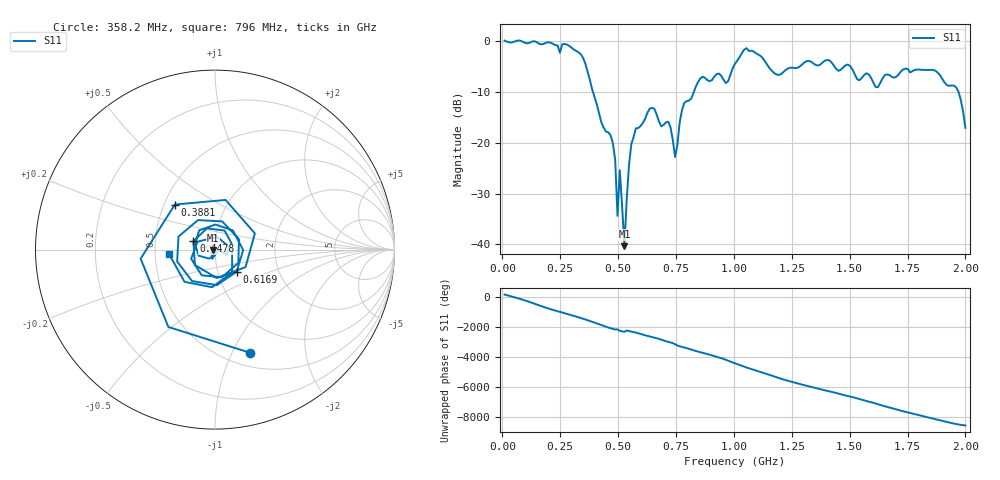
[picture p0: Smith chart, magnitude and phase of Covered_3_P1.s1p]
!Created with skrf (http://scikit-rf.org).
# Hz S RI R 50.0
!freq ReS11 ImS11
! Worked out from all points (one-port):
!   201 points, 10 MHz to 2 GHz, reference 50 ohm
!   lowest |S11| = -40.4 dB at 527.4 MHz (marker M1), VSWR 1.02, Z = 49.1 - j0.148 ohm
!   |S11| at or under -10 dB: 391.6 MHz to 827.1 MHz (435.5 MHz wide, 71.5 % of centre); 1.971 GHz to end of sweep
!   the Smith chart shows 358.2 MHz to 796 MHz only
!   S11 on the Smith chart (normalised r, x): 358.2 MHz: 0.65, -1.17; 388.1 MHz: 0.57, +0.32; 447.8 MHz: 0.78, +0.07; 617 MHz: 1.23, -0.31; 796 MHz: 0.59, -0.03
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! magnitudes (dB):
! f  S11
! 10 MHz  0.1
! 258.8 MHz  -0.6
! 358.2 MHz  -4.3
! 388.1 MHz  -9.5
! 447.8 MHz  -17.8
! 487.6 MHz  -23.3
! 497.6 MHz  -34.4
! 507.5 MHz  -25.4
! 527.4 MHz  -40.4
! 547.3 MHz  -24.4
! 557.2 MHz  -20.3
! 617 MHz  -15.3
! 656.8 MHz  -13.3
! 716.5 MHz  -15.8
! 746.3 MHz  -22.8
! 756.2 MHz  -20.4
! 776.1 MHz  -13.5
! 796 MHz  -11.8
! 975.1 MHz  -7.9
! 1.005 GHz  -4.4
! 1.055 GHz  -1.4
! 1.184 GHz  -6.5
! 1.254 GHz  -5.2
! 1.502 GHz  -4.9
! 1.622 GHz  -9.0
! 1.751 GHz  -5.4
! 1.96 GHz  -9.1
! 2 GHz  -17.0
